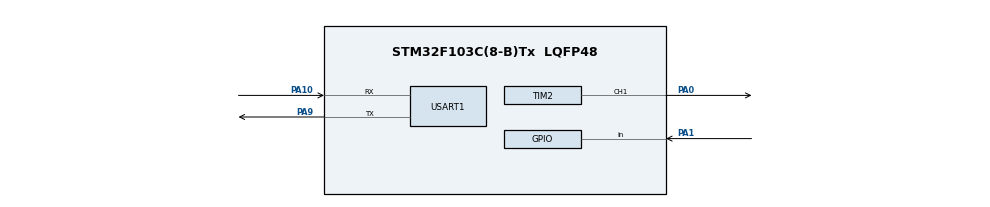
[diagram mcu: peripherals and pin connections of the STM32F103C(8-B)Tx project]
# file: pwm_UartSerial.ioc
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Mcu.Family=STM32F1
Mcu.Name=STM32F103C(8-B)Tx
Mcu.Package=LQFP48
NVIC.PriorityGroup=NVIC_PRIORITYGROUP_4
PA0-WKUP.Signal=S_TIM2_CH1_ETR
PA1.GPIO_PuPd=GPIO_PULLUP
PA1.Signal=GPIO_Input
PA10.Mode=Asynchronous
PA10.Signal=USART1_RX
PA13.Mode=Serial_Wire
PA13.Signal=SYS_JTMS-SWDIO
PA14.Mode=Serial_Wire
PA14.Signal=SYS_JTCK-SWCLK
PA9.Mode=Asynchronous
PA9.Signal=USART1_TX
PD0-OSC_IN.Mode=HSE-External-Oscillator
PD0-OSC_IN.Signal=RCC_OSC_IN
PD1-OSC_OUT.Mode=HSE-External-Oscillator
PD1-OSC_OUT.Signal=RCC_OSC_OUT
ProjectManager.HeapSize=0x200
ProjectManager.StackSize=0x400
ProjectManager.TargetToolchain=STM32CubeIDE
RCC.APB1Freq_Value=8000000
RCC.APB2Freq_Value=8000000
SH.S_TIM2_CH1_ETR.0=TIM2_CH1,PWM Generation1 CH1
TIM2.Channel-PWM\ Generation1\ CH1=TIM_CHANNEL_1
TIM2.Period=999
TIM2.Prescaler=71
USART1.VirtualMode=VM_ASYNC
board=custom

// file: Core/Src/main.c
/* USER CODE BEGIN Header */
/**
  ******************************************************************************
  * @file           : main.c
  * @brief          : Main program body
  ******************************************************************************
  * @attention
  *
  * Copyright (c) 2026 STMicroelectronics.
  * All rights reserved.
  *
  * This software is licensed under terms that can be found in the LICENSE file
  * in the root directory of this software component.
  * If no LICENSE file comes with this software, it is provided AS-IS.
  *
  ******************************************************************************
  */
/* USER CODE END Header */
#include "main.h"

/* USER CODE BEGIN Includes */
/* Private variables ---------------------------------------------------------*/
UART_HandleTypeDef huart1;

/* USER CODE BEGIN 0 *//* USER CODE BEGIN 0 */
#include <string.h>

void uart_print(char *msg)
{
    HAL_UART_Transmit(&huart1, (uint8_t*)msg, strlen(msg), HAL_MAX_DELAY);
}
/* USER CODE END 0 */

/* USER CODE END 0 */
/* USER CODE END Includes */

TIM_HandleTypeDef htim2;

UART_HandleTypeDef huart1;

void SystemClock_Config(void);
static void MX_GPIO_Init(void);
static void MX_TIM2_Init(void);
static void MX_USART1_UART_Init(void);

int main(void)
{

  /* MCU Configuration--------------------------------------------------------*/

  /* Reset of all peripherals, Initializes the Flash interface and the Systick. */
  HAL_Init();

  /* Configure the system clock */
  SystemClock_Config();

  /* Initialize all configured peripherals */
  MX_GPIO_Init();
  MX_TIM2_Init();
  MX_USART1_UART_Init();

  /* Infinite loop */
  /* USER CODE BEGIN WHILE */
  /* USER CODE BEGIN 2 */
  HAL_TIM_PWM_Start(&htim2, TIM_CHANNEL_1);
  /* USER CODE END 2 */

  /* USER CODE BEGIN WHILE */

  /* USER CODE BEGIN WHILE */

  uint8_t level = 0;
  uint8_t prev = 1;   // button previous state (pull-up)
  uint8_t rx_data;

  while (1)
  {
      // ================= UART INPUT =================
      if (HAL_UART_Receive(&huart1, &rx_data, 1, 10) == HAL_OK)
      {
          switch (rx_data)
          {
              case '0':
                  __HAL_TIM_SET_COMPARE(&htim2, TIM_CHANNEL_1, 0);
                  uart_print("UART: OFF\r\n");
                  level = 0;
                  break;

              case '1':
                  __HAL_TIM_SET_COMPARE(&htim2, TIM_CHANNEL_1, 250);
                  uart_print("UART: 25%\r\n");
                  level = 1;
                  break;

              case '2':
                  __HAL_TIM_SET_COMPARE(&htim2, TIM_CHANNEL_1, 500);
                  uart_print("UART: 50%\r\n");
                  level = 2;
                  break;

              case '3':
                  __HAL_TIM_SET_COMPARE(&htim2, TIM_CHANNEL_1, 750);
                  uart_print("UART: 75%\r\n");
                  level = 3;
                  break;

              case '4':
                  __HAL_TIM_SET_COMPARE(&htim2, TIM_CHANNEL_1, 999);
                  uart_print("UART: 100%\r\n");
                  level = 4;
                  break;
          }
      }

      // ================= BUTTON =================
      uint8_t curr = HAL_GPIO_ReadPin(GPIOA, GPIO_PIN_1);

      if (curr == 0 && prev == 1)   // press detected
      {
          HAL_Delay(50); // debounce

          if (HAL_GPIO_ReadPin(GPIOA, GPIO_PIN_1) == 0)
          {
              level++;
              if (level > 4) level = 0;

              switch (level)
              {
                  case 0:
                      __HAL_TIM_SET_COMPARE(&htim2, TIM_CHANNEL_1, 0);
                      uart_print("BTN: OFF\r\n");
                      break;

                  case 1:
                      __HAL_TIM_SET_COMPARE(&htim2, TIM_CHANNEL_1, 250);
                      uart_print("BTN: 25%\r\n");
                      break;

                  case 2:
                      __HAL_TIM_SET_COMPARE(&htim2, TIM_CHANNEL_1, 500);
                      uart_print("BTN: 50%\r\n");
                      break;

                  case 3:
                      __HAL_TIM_SET_COMPARE(&htim2, TIM_CHANNEL_1, 750);
                      uart_print("BTN: 75%\r\n");
                      break;

                  case 4:
                      __HAL_TIM_SET_COMPARE(&htim2, TIM_CHANNEL_1, 999);
                      uart_print("BTN: 100%\r\n");
                      break;
              }
          }
      }

      prev = curr;
  }

  /* USER CODE END WHILE */
  /* USER CODE END WHILE *//* USER CODE END 3 */
}

void SystemClock_Config(void)
{
  RCC_OscInitTypeDef RCC_OscInitStruct = {0};
  RCC_ClkInitTypeDef RCC_ClkInitStruct = {0};

  /** Initializes the RCC Oscillators according to the specified parameters
  * in the RCC_OscInitTypeDef structure.
  */
  RCC_OscInitStruct.OscillatorType = RCC_OSCILLATORTYPE_HSI;
  RCC_OscInitStruct.HSIState = RCC_HSI_ON;
  RCC_OscInitStruct.HSICalibrationValue = RCC_HSICALIBRATION_DEFAULT;
  RCC_OscInitStruct.PLL.PLLState = RCC_PLL_NONE;
  if (HAL_RCC_OscConfig(&RCC_OscInitStruct) != HAL_OK)
  {
    Error_Handler();
  }

  /** Initializes the CPU, AHB and APB buses clocks
  */
  RCC_ClkInitStruct.ClockType = RCC_CLOCKTYPE_HCLK|RCC_CLOCKTYPE_SYSCLK
                              |RCC_CLOCKTYPE_PCLK1|RCC_CLOCKTYPE_PCLK2;
  RCC_ClkInitStruct.SYSCLKSource = RCC_SYSCLKSOURCE_HSI;
  RCC_ClkInitStruct.AHBCLKDivider = RCC_SYSCLK_DIV1;
  RCC_ClkInitStruct.APB1CLKDivider = RCC_HCLK_DIV1;
  RCC_ClkInitStruct.APB2CLKDivider = RCC_HCLK_DIV1;

  if (HAL_RCC_ClockConfig(&RCC_ClkInitStruct, FLASH_LATENCY_0) != HAL_OK)
  {
    Error_Handler();
  }
}

static void MX_TIM2_Init(void)
{

  TIM_MasterConfigTypeDef sMasterConfig = {0};
  TIM_OC_InitTypeDef sConfigOC = {0};

  htim2.Instance = TIM2;
  htim2.Init.Prescaler = 71;
  htim2.Init.CounterMode = TIM_COUNTERMODE_UP;
  htim2.Init.Period = 999;
  htim2.Init.ClockDivision = TIM_CLOCKDIVISION_DIV1;
  htim2.Init.AutoReloadPreload = TIM_AUTORELOAD_PRELOAD_DISABLE;
  if (HAL_TIM_PWM_Init(&htim2) != HAL_OK)
  {
    Error_Handler();
  }
  sMasterConfig.MasterOutputTrigger = TIM_TRGO_RESET;
  sMasterConfig.MasterSlaveMode = TIM_MASTERSLAVEMODE_DISABLE;
  if (HAL_TIMEx_MasterConfigSynchronization(&htim2, &sMasterConfig) != HAL_OK)
  {
    Error_Handler();
  }
  sConfigOC.OCMode = TIM_OCMODE_PWM1;
  sConfigOC.Pulse = 0;
  sConfigOC.OCPolarity = TIM_OCPOLARITY_HIGH;
  sConfigOC.OCFastMode = TIM_OCFAST_DISABLE;
  if (HAL_TIM_PWM_ConfigChannel(&htim2, &sConfigOC, TIM_CHANNEL_1) != HAL_OK)
  {
    Error_Handler();
  }
  HAL_TIM_MspPostInit(&htim2);

}

static void MX_USART1_UART_Init(void)
{

  huart1.Instance = USART1;
  huart1.Init.BaudRate = 115200;
  huart1.Init.WordLength = UART_WORDLENGTH_8B;
  huart1.Init.StopBits = UART_STOPBITS_1;
  huart1.Init.Parity = UART_PARITY_NONE;
  huart1.Init.Mode = UART_MODE_TX_RX;
  huart1.Init.HwFlowCtl = UART_HWCONTROL_NONE;
  huart1.Init.OverSampling = UART_OVERSAMPLING_16;
  if (HAL_UART_Init(&huart1) != HAL_OK)
  {
    Error_Handler();
  }

}

static void MX_GPIO_Init(void)
{
  GPIO_InitTypeDef GPIO_InitStruct = {0};

  /* GPIO Ports Clock Enable */
  __HAL_RCC_GPIOD_CLK_ENABLE();
  __HAL_RCC_GPIOA_CLK_ENABLE();

  /*Configure GPIO pin : PA1 */
  GPIO_InitStruct.Pin = GPIO_PIN_1;
  GPIO_InitStruct.Mode = GPIO_MODE_INPUT;
  GPIO_InitStruct.Pull = GPIO_PULLUP;
  HAL_GPIO_Init(GPIOA, &GPIO_InitStruct);

}

void Error_Handler(void)
{
  __disable_irq();
  while (1)
  {
  }
}
